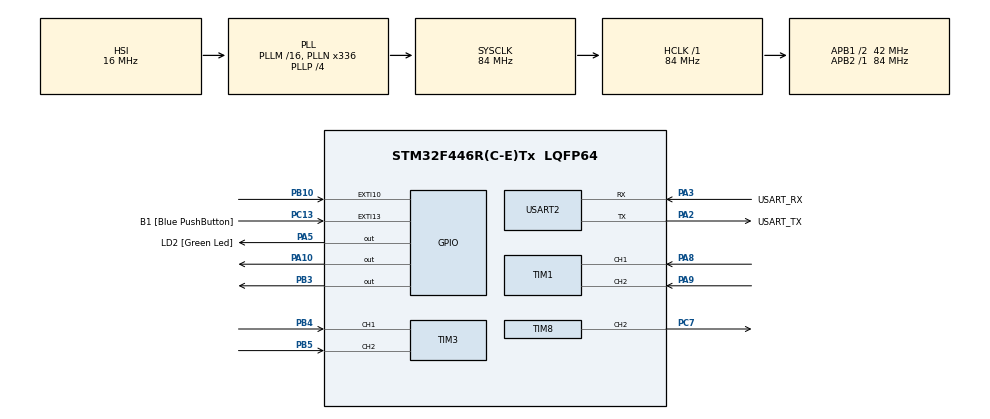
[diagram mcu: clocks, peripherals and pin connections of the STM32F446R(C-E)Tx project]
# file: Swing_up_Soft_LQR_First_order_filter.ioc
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Mcu.Family=STM32F4
Mcu.Name=STM32F446R(C-E)Tx
Mcu.Package=LQFP64
NVIC.EXTI15_10_IRQn=true\:0\:0\:false\:false\:true\:true\:true\:true
NVIC.PriorityGroup=NVIC_PRIORITYGROUP_0
NVIC.TIM1_CC_IRQn=true\:0\:0\:false\:false\:true\:true\:true\:true
PA10.Signal=GPIO_Output
PA13.GPIO_Label=TMS
PA13.Mode=Serial_Wire
PA13.Signal=SYS_JTMS-SWDIO
PA14.GPIO_Label=TCK
PA14.Mode=Serial_Wire
PA14.Signal=SYS_JTCK-SWCLK
PA2.GPIO_Label=USART_TX
PA2.Mode=Asynchronous
PA2.Signal=USART2_TX
PA3.GPIO_Label=USART_RX
PA3.Mode=Asynchronous
PA3.Signal=USART2_RX
PA5.GPIO_Label=LD2 [Green Led]
PA5.Signal=GPIO_Output
PA8.Signal=S_TIM1_CH1
PA9.Signal=S_TIM1_CH2
PB10.Signal=GPXTI10
PB3.Signal=GPIO_Output
PB4.Signal=S_TIM3_CH1
PB5.Signal=S_TIM3_CH2
PC13.GPIO_Label=B1 [Blue PushButton]
PC13.GPIO_ModeDefaultEXTI=GPIO_MODE_IT_FALLING
PC13.Signal=GPXTI13
PC14-OSC32_IN.Mode=LSE-External-Oscillator
PC14-OSC32_IN.Signal=RCC_OSC32_IN
PC15-OSC32_OUT.Mode=LSE-External-Oscillator
PC15-OSC32_OUT.Signal=RCC_OSC32_OUT
PC7.Signal=S_TIM8_CH2
PH0-OSC_IN.Mode=HSE-External-Oscillator
PH0-OSC_IN.Signal=RCC_OSC_IN
PH1-OSC_OUT.Mode=HSE-External-Oscillator
PH1-OSC_OUT.Signal=RCC_OSC_OUT
ProjectManager.HeapSize=0x200
ProjectManager.StackSize=0x400
ProjectManager.TargetToolchain=STM32CubeIDE
RCC.48MHZClocksFreq_Value=84000000
RCC.AHBFreq_Value=84000000
RCC.APB1CLKDivider=RCC_HCLK_DIV2
RCC.APB1Freq_Value=42000000
RCC.APB1TimFreq_Value=84000000
RCC.APB2Freq_Value=84000000
RCC.APB2TimFreq_Value=84000000
RCC.CortexFreq_Value=84000000
RCC.FLatency-AdvancedSettings=FLASH_LATENCY_2
RCC.HCLKFreq_Value=84000000
RCC.HSE_VALUE=8000000
RCC.HSI_VALUE=16000000
RCC.PLLN=336
RCC.PLLP=RCC_PLLP_DIV4
RCC.SYSCLKFreq_VALUE=84000000
RCC.SYSCLKSource=RCC_SYSCLKSOURCE_PLLCLK
RCC.USBFreq_Value=168000000
RCC.VCOOutputFreq_Value=336000000
SH.S_TIM1_CH1.0=TIM1_CH1,Encoder_Interface
SH.S_TIM1_CH2.0=TIM1_CH2,Encoder_Interface
SH.S_TIM3_CH1.0=TIM3_CH1,Encoder_Interface
SH.S_TIM3_CH2.0=TIM3_CH2,Encoder_Interface
SH.S_TIM8_CH2.0=TIM8_CH2,PWM Generation2 CH2
TIM1.EncoderMode=TIM_ENCODERMODE_TI12
TIM3.EncoderMode=TIM_ENCODERMODE_TI12
TIM8.Channel-PWM\ Generation2\ CH2=TIM_CHANNEL_2
TIM8.Period=4199
USART2.VirtualMode=VM_ASYNC
board=NUCLEO-F446RE

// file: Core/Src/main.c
/* USER CODE BEGIN Header */
/**
  ******************************************************************************
  * @file           : main.c
  * @brief          : Main program body
  ******************************************************************************
  */
/* USER CODE END Header */
#include "main.h"

/* USER CODE BEGIN Includes */
#include <stdio.h>
#include <string.h>
#include <math.h>
#include "furuta_controller.h"
#include "furuta_swingup.h"
/* USER CODE END Includes */

/* USER CODE BEGIN PD */
#define CONTROL_PERIOD_MS        (1U)
#define TELEMETRY_PERIOD_MS      (50U)
#define PWM_DUTY_SAFETY_CAP      (0.80f)
#define MAX_VOLTAGE              (12.0f)
/* USER CODE END PD */

TIM_HandleTypeDef htim1;
TIM_HandleTypeDef htim3;
TIM_HandleTypeDef htim8;

UART_HandleTypeDef huart2;

/* USER CODE BEGIN PV */
volatile int32_t motor_ticks_debug = 0;
volatile uint8_t live_trigger_blue_btn = 0; // 新增：用于 IDE 内部触发蓝键中断
volatile float debug_unfiltered_u = 0.0f;

FurutaController g_controller;
FurutaControllerConfig g_config;
FurutaControlOutput g_output;

SwingUpController g_swingup_controller;

uint32_t last_control_tick_ms = 0;
uint32_t last_print_tick_ms = 0;
volatile int16_t kickstart_countdown_ms = 0;
volatile uint8_t switch_flag = 0U;
volatile uint8_t lqr_stop_latched = 0U;
volatile uint16_t switch_ready_count = 0U;

// ================= LQR 增益调度 (Soft-LQR) 参数 =================
// K 矩阵:[臂角, 臂速, 摆角, 摆速] [arm_angle, arm_vel, pend_angle, pend_vel]

// 1. 内圈 (极小角度，< 2度)：极度轻柔，大幅减小 K4 消除稳态震荡
float K_inner[4] = {-0.6257f, -1.2800f, -18.2292f, -1.3866f};

// 2. 中圈 (轻微扰动，2~6度)：标准参数，兼顾稳定与抗干扰
float K_mid[4]   = {-0.5712f, -1.2615f, -18.0437f, -1.3728f};

// 3. 外圈 (大角度快倒了，> 6度)：极强参数，强力救回
float K_outer[4] = {-0.5712f, -1.2615f, -18.0437f, -1.3728f};

// 切换阈值 (单位：弧度)
#define THRESHOLD_INNER_RAD (0.070f)  // 约 4.0 度
#define THRESHOLD_OUTER_RAD (0.085f)  // 约 6.0 度

/* ====== LQR 输出低通滤波器参数 ====== */
static float lqr_u_filtered = 0.66f; // 保存上一周期的滤波输出
#define LQR_LPF_ALPHA  (0.34f)       // 滤波系数 Alpha。取值范围 0.0 ~ 1.0

/* ---------- switch 逻辑 ---------- */
#define SWITCH_ANGLE_RAD            (0.25f)
#define SWITCH_PEND_VEL_RAD_S       (5.00f)
#define SWITCH_ARM_VEL_RAD_S        (5.00f)
#define SWITCH_CONFIRM_COUNT        (10U)
/* USER CODE END PV */

void SystemClock_Config(void);
static void MX_GPIO_Init(void);
static void MX_USART2_UART_Init(void);
static void MX_TIM1_Init(void);
static void MX_TIM3_Init(void);
static void MX_TIM8_Init(void);
/* USER CODE BEGIN PFP */
static void uart_print(const char *s);
static void motor_drive_apply(int8_t direction, float pwm_duty);
static void zero_swingup_runtime(void);
static void zero_lqr_output(void);
static FurutaControlOutput lqr_compute_output(const FurutaController *controller);
/* USER CODE END PFP */

/* USER CODE BEGIN 0 */
/* 1. 串口打印函数
 * 作用：将字符串发送到电脑或其他串口终端，通常用于输出调试信息。*/
static void uart_print(const char *s)
{
  HAL_UART_Transmit(&huart2, (uint8_t *)s, strlen(s), HAL_MAX_DELAY);
}

/* * 2. 起摆控制器状态清零函数
 * 作用：将起摆（Swing-up）控制器的所有输出值强制设为 0。
 * 这在系统启动、急停或切换到 LQR 模式时调用，防止上一阶段的残留数值导致电机突然乱转。 */
static void zero_swingup_runtime(void)
{
  g_swingup_controller.output.raw_control = 0.0f;			// 清除原始控制量
  g_swingup_controller.output.saturated_control = 0.0f;		// 清除限幅后的控制量
  g_swingup_controller.output.pwm_duty = 0.0f;				// 清除 PWM 占空比（电机转速控制值）
  g_swingup_controller.output.direction = 0;				// 清除电机方向
  g_swingup_controller.logic.energy_control = 0.0f;			// 清除能量控制算法的历史数据
  g_swingup_controller.logic.torque = 0.0f;					// 清除计算出的目标扭矩
}

/* * 3. LQR 控制器输出清零函数
 * 作用：将 LQR（线性二次型调节器）的全局输出变量强制设为 0。
 * 用途与 zero_swingup_runtime 类似，用于停止平衡控制时安全切断电机动力。*/
static void zero_lqr_output(void)
{
  g_output.raw_control = 0.0f;				// 清除原始控制量
  g_output.saturated_control = 0.0f;		// 清除限幅后的控制量
  g_output.pwm_duty = 0.0f;					// 清除 PWM 占空比
  g_output.direction = 0;					// 清除电机方向
  /* ====== 新增：状态重置时清空历史滤波值 ====== */
  lqr_u_filtered = 0.0f;
}

/* * 4. LQR 控制量计算函数（部分）
 * 作用：读取当前倒立摆的状态（角度、速度），通过矩阵运算计算出电机应该输出多大的力。
 * 此段代码为该函数的“初始化与安全检查”部分。 */
static FurutaControlOutput lqr_compute_output(const FurutaController *controller)
{
  FurutaControlOutput output;				// 定义一个局部变量，用于存储即将计算出的输出结果
  float u = 0.0f;							// 定义并初始化控制律变量 u
  float arm_angle;							// 定义旋臂角度变量
  float arm_vel;							// 定义旋臂角速度变量
  float pend_angle;							// 定义摆杆角度变量
  float pend_vel;							// 定义摆杆角速度变量

  // 赋初值：默认将输出参数全部置零
  output.raw_control = 0.0f;
  output.saturated_control = 0.0f;
  output.pwm_duty = 0.0f;
  output.direction = 0;

  // 安全防线：如果控制器指针为空，或者控制器未被启用
  if (controller == NULL || controller->control_enabled == 0U)	// 直接返回全为0的输出结果，中止后续计算，确保电机不会动作
  {
    return output;
  }

  /* ================= 1. 核心控制律计算 ================= */
  /* 以手臂相对于切换瞬间的角度作为LQR调节的参考，使控制器围绕实际转移位置而非累积的连续手臂角度进行平衡。 */
  arm_angle = FurutaController_WrapAngleRad(controller->measured.arm_angle_rad - controller->arm_hold_angle_rad);
  arm_vel = controller->measured.arm_velocity_rad_s;
  pend_angle = controller->measured.pendulum_angle_rad;
  pend_vel = controller->measured.pendulum_velocity_rad_s;

  /* ================= 1. 增益调度 (Gain Scheduling) ================= */
  float *current_K;
  float abs_pend_angle = fabsf(pend_angle);

  // 根据摆杆偏离中心的角度，动态选择 K 矩阵
  if (abs_pend_angle < THRESHOLD_INNER_RAD) {
      current_K = K_inner;  // 稳态防抖
  } else if (abs_pend_angle < THRESHOLD_OUTER_RAD) {
      current_K = K_mid;    // 正常抗扰
  } else {
      current_K = K_outer;  // 极限救场
  }

  /* ================= 2. 核心控制律计算 ================= */
  /* LQR: x =[arm_angle, arm_vel, pend_angle, pend_vel] */
  u = - current_K[0] * (- arm_angle)
    - current_K[1] * (- arm_vel)
    - current_K[2] * pend_angle
    - current_K[3] * pend_vel;

  debug_unfiltered_u = u;
  /* ==========================================================
  * 新增：一阶低通滤波 (Exponential Moving Average)
  * 公式：Y_n = Alpha * X_n + (1 - Alpha) * Y_{n-1}
  * ========================================================== */
  lqr_u_filtered = LQR_LPF_ALPHA * u + (1.0f - LQR_LPF_ALPHA) * lqr_u_filtered;
  u = lqr_u_filtered; // 用滤波后的平滑电压覆盖原本的 u，向下传递

  /* ================= 2. 死区补偿 (Deadzone Compensation) ================= */
  // 匹配 MATLAB 逻辑：剔除 (-0.6, 0.6) 区间的微小输出，消除稳态震荡
  float deadband_offset = 0.5f;

  if (u > deadband_offset)
  {   // 信号在[0.6, 12] 内，保持原值
      u = u;
  }
  else if (u < -deadband_offset)
  {   // 信号在[-12, -0.6] 内，保持原值
      u = u;
  }
  else
  {   // 信号在 (-0.6, 0.6) 之间，强制抹零断电
      u = 0.0f;
  }

  /* ================= 3. 电压限幅 (Saturation / Clamping) ================= */
  if (u > MAX_VOLTAGE) u = MAX_VOLTAGE;
  if (u < -MAX_VOLTAGE) u = -MAX_VOLTAGE;

  /* ================= 4. 输出变量赋值 ================= */
  output.raw_control = u;
  output.saturated_control = u;
  output.pwm_duty = fabsf(u) / MAX_VOLTAGE;

  /* ================= 5. 确定电机转动方向 ================= */
  if (u > 0.0f)
  {output.direction = 1;
  }
  else if (u < 0.0f)
  {output.direction = -1;
  }
  else
  {output.direction = 0;
  }

  return output;
}

/* * 1. 外部中断回调函数 (EXTI Callback)
 * 作用：处理按键逻辑，实现倒立摆系统的“紧急停止”和“一键启动”。*/
void HAL_GPIO_EXTI_Callback(uint16_t GPIO_Pin)
{
    if (GPIO_Pin == GPIO_PIN_13)		//蓝色按键
    {
        /* ---------- blue button: if LQR is active, stop immediately ---------- */
    	/* ========== 逻辑 1：紧急停止 (LQR 阶段) ========== */
        if ((switch_flag == 1U) && (g_controller.control_enabled != 0U))
        {
            Disable_SwingUp(&g_swingup_controller);
            FurutaController_DisableControl(&g_controller);

            zero_swingup_runtime();
            zero_lqr_output();
            motor_drive_apply(0, 0.0f);

            switch_flag = 0U;
            switch_ready_count = 0U;
            kickstart_countdown_ms = 0;
            lqr_stop_latched = 1U;

            uart_print("LQR stopped by blue button.\r\n");
            return;
        }

        /* ========== 新增逻辑 1.5：紧急停止 (起摆阶段) ========== */
        if ((switch_flag == 0U) && (g_swingup_controller.control_enabled != 0U))
        {
            Disable_SwingUp(&g_swingup_controller);
            FurutaController_DisableControl(&g_controller);

            zero_swingup_runtime();
            zero_lqr_output();
            motor_drive_apply(0, 0.0f);

            switch_flag = 0U;
            switch_ready_count = 0U;
            kickstart_countdown_ms = 0;
            lqr_stop_latched = 1U; // 锁定状态，防止立即重启

            uart_print("Swing-up stopped by blue button.\r\n");
            return;
        }

        /* ---------- blue button: if everything is stopped, start swing-up ---------- */
        /* ========== 逻辑 2：启动起摆 (Swing-up) ========== */
        if ((g_swingup_controller.control_enabled == 0U) &&
            (g_controller.control_enabled == 0U))
        {
            uint16_t pendulum_cnt_now = (uint16_t)__HAL_TIM_GET_COUNTER(&htim3);
            uint16_t motor_counter_now = (uint16_t)__HAL_TIM_GET_COUNTER(&htim1);

            motor_drive_apply(0, 0.0f);

            FurutaController_DisableControl(&g_controller);
            SwingUp_Controller_init(&g_swingup_controller,
                                    pendulum_cnt_now,
                                    motor_counter_now);

            /* ====== 新增：同步初始化 LQR 控制器，统一零点 ====== */
            FurutaController_Init(&g_controller,
                                  &g_config,
                                  pendulum_cnt_now,
                                  motor_counter_now);

            Enable_SwingUp(&g_swingup_controller);

            zero_swingup_runtime();
            zero_lqr_output();

            lqr_stop_latched = 0U;
            switch_flag = 0U;
            switch_ready_count = 0U;
            kickstart_countdown_ms = 100;

            uart_print("Swing-up ENABLED by blue button.\r\n");
        }
    }
}

/* * 2. 电机底层驱动应用函数
 * 作用：将算法计算出的方向和 PWM 占空比，转化为 STM32 的引脚输出。
 * 参数：
 * direction: 电机转动方向 (>0 正转, <0 反转, 0 停止)
 * pwm_duty:  PWM 占空比 (0.0 到 1.0 的浮点数，代表输出功率百分比)
 */
static void motor_drive_apply(int8_t direction, float pwm_duty)
{
  uint32_t arr = __HAL_TIM_GET_AUTORELOAD(&htim8);
  uint32_t compare = 0U;

  /* ========== 1. 软件限幅保护 ========== */
  if (pwm_duty < 0.0f)
  {
    pwm_duty = 0.0f;
  }
  if (pwm_duty > PWM_DUTY_SAFETY_CAP)
  {
    pwm_duty = PWM_DUTY_SAFETY_CAP;
  }

  /* ========== 2. 占空比数值转换 ========== */
  compare = (uint32_t)(pwm_duty * (float)arr);

  /* ========== 3. 引脚方向控制 ========== */
  if (direction > 0)
  {	// 正转：PA10 输出低电平，PB3 输出高电平
    HAL_GPIO_WritePin(GPIOA, GPIO_PIN_10, GPIO_PIN_RESET);
    HAL_GPIO_WritePin(GPIOB, GPIO_PIN_3,  GPIO_PIN_SET);
  }
  else if (direction < 0)
  {	// 反转：PA10 输出高电平，PB3 输出低电平
    HAL_GPIO_WritePin(GPIOA, GPIO_PIN_10, GPIO_PIN_SET);
    HAL_GPIO_WritePin(GPIOB, GPIO_PIN_3,  GPIO_PIN_RESET);
  }
  else
  {	// 停止：两个引脚均输出低电平（电机刹车或滑行，取决于电机驱动板设计）
    HAL_GPIO_WritePin(GPIOA, GPIO_PIN_10, GPIO_PIN_RESET);
    HAL_GPIO_WritePin(GPIOB, GPIO_PIN_3,  GPIO_PIN_RESET);
    compare = 0U;
  }

  /* ========== 4. 执行 PWM 输出 ========== */
  __HAL_TIM_SET_COMPARE(&htim8, TIM_CHANNEL_2, compare);
}
/* USER CODE END 0 */

int main(void)
{
  HAL_Init();
  SystemClock_Config();

  MX_GPIO_Init();
  MX_USART2_UART_Init();
  MX_TIM1_Init();
  MX_TIM3_Init();
  MX_TIM8_Init();

  /* USER CODE BEGIN 2 */
  HAL_Delay(500);
  uart_print("Booting Swing Up + LQR controller...\r\n");

  HAL_TIM_Encoder_Start(&htim3, TIM_CHANNEL_ALL);
  HAL_TIM_Encoder_Start(&htim1, TIM_CHANNEL_ALL);
  HAL_TIM_PWM_Start(&htim8, TIM_CHANNEL_2);

  motor_drive_apply(0, 0.0f);

  zero_swingup_runtime();
  zero_lqr_output();

  /* ---------- swing-up init 起摆参数 ---------- */
  // 硬件配置参数：采样时间、编码器线数、电机减速比、控制限幅等
  g_swingup_controller.config.sample_time_s = 0.001f;
  g_swingup_controller.config.pendulum_counts_per_rev = 4096.0f;
  g_swingup_controller.config.motor_counts_per_rev = 44.0f;
  g_swingup_controller.config.motor_gear_ratio = 9.267f;
  g_swingup_controller.config.control_limit = 0.170f;
  g_swingup_controller.config.deadband = 0.0f;
  g_swingup_controller.config.kickstart_pwm_duty = 0.10f;

  // 机械物理参数：旋臂长度 (L_arm)、惯量 (I_arm)、质量 (m_1)、重力加速度 (g) 及摩擦系数等
  g_swingup_controller.mech_params.L_arm = 145e-3f;
  g_swingup_controller.mech_params.I_arm = 7.1e-4f;
  g_swingup_controller.mech_params.lcom_1 = 0.0503f;
  g_swingup_controller.mech_params.I_1 = 1.05e-4f;
  g_swingup_controller.mech_params.m_1 = 0.0542f;
  g_swingup_controller.mech_params.g = 9.81f;

  g_swingup_controller.mech_params.f_v_arm = 0.0f;
  g_swingup_controller.mech_params.f_c_arm = 0.0f;
  g_swingup_controller.mech_params.k_fc_arm = 0.0f;
  g_swingup_controller.mech_params.f_v_1 = 0.0f;
  g_swingup_controller.mech_params.f_c_1 = 0.0f;
  g_swingup_controller.mech_params.k_fc_1 = 0.0f;

  // 算法整定参数：能量控制增益 (K)、旋臂位置 PD 参数 (arm_kp, arm_kd)、低通滤波增益等
  g_swingup_controller.tuning_params.K = 0.0035f;
  g_swingup_controller.tuning_params.arm_kp = 1.00f;
  g_swingup_controller.tuning_params.arm_kd = 1.40f;
  g_swingup_controller.tuning_params.target_energy_offset = 0.03f;
  g_swingup_controller.tuning_params.tanh_smoothing_factor = 100.0f;
  g_swingup_controller.tuning_params.v_theta_1_LPF_gain = 0.90f;
  g_swingup_controller.tuning_params.v_theta_arm_LPF_gain = 0.90f;

  /* ---------- LQR measured-state init LQR 测量状态初始化 ---------- */
  g_config = FurutaController_DefaultConfig();		// 加载默认配置模板
  g_config.pendulum_counts_per_rev = 4096.0f;		// 覆盖摆杆编码器参数
  g_config.motor_counts_per_rev = 44.0f;			// 覆盖电机编码器参数
  g_config.motor_gear_ratio = 9.267f;				// 覆盖齿轮减速比
  g_config.sample_time_s = 0.001f;					// 设定 LQR 采样周期为 1ms
  g_config.control_limit = MAX_VOLTAGE;				// 设定最大输出电压限制
  g_config.deadband = 0.0f;							// 设定死区参数

  {	  // 读取上电瞬间两个编码器的原始计数值
      uint16_t motor_counter_now = (uint16_t)__HAL_TIM_GET_COUNTER(&htim1);
      uint16_t pendulum_cnt_now = (uint16_t)__HAL_TIM_GET_COUNTER(&htim3);

      motor_ticks_debug = (int32_t)motor_counter_now;
      // 使用当前的物理位置作为零点（基准点），初始化起摆控制器
      SwingUp_Controller_init(&g_swingup_controller,
                              pendulum_cnt_now,
                              motor_counter_now);
      // 使用相同的物理位置，初始化 LQR 控制器
      FurutaController_Init(&g_controller,
                            &g_config,
                            pendulum_cnt_now,
                            motor_counter_now);
  }

  last_control_tick_ms = HAL_GetTick();
  last_print_tick_ms = HAL_GetTick();

  uart_print("Controller initialized in SAFE mode. Press blue button to start swing-up.\r\n");
  /* USER CODE END 2 */

  while (1)
  {
      // 新增：IDE 触发逻辑
      if (live_trigger_blue_btn == 1)
      {
          live_trigger_blue_btn = 0;
          HAL_GPIO_EXTI_Callback(GPIO_PIN_13);
      }

	  uint32_t now_ms = HAL_GetTick();		// 获取当前系统运行的毫秒数
      /* ================= 任务调度 1：高频控制循环 =================
      * 保证控制算法以恒定的周期执行（CONTROL_PERIOD_MS，通常为 1ms）。
      * 这对数字控制系统（如 PID、LQR）至关重要，时间间隔不准会导致系统发散。*/
      if ((now_ms - last_control_tick_ms) >= CONTROL_PERIOD_MS)
      {	  // 读取电机和摆杆当前位置的原始计数值
          uint16_t motor_counter_now = (uint16_t)__HAL_TIM_GET_COUNTER(&htim1);
          uint16_t pendulum_cnt_now  = (uint16_t)__HAL_TIM_GET_COUNTER(&htim3);
          uint8_t switch_ready = 0U;

          motor_ticks_debug = (int32_t)motor_counter_now;

          /* ---------- swing-up output 起摆控制输出计算 ---------- */
          // 如果当前处于起摆模式（switch_flag == 0）且系统没有被紧急停止
          if ((switch_flag == 0U) && (lqr_stop_latched == 0U))
          {	  // 计算起摆所需的能量控制量
              g_swingup_controller.output = Compute_SwingUpOutput(&g_swingup_controller,
                                                                  pendulum_cnt_now,
                                                                  motor_counter_now);

              /* 限制旋臂的转动角度和速度，防止起摆时动作过大撞坏机械结构 */
              SwingUp_arm_angle_velocity_limit(&g_swingup_controller, 3.13f, 180.0f);
          }
          else
          {	  // 如果不在起摆模式，将起摆相关的输出变量清零，防止干扰
              zero_swingup_runtime();
          }

          /* Restore the PID-version switching flow:
           * evaluate the swing-up -> LQR handover using only the threshold-based
           * consecutive-sample check, with no swingup_success shortcut and no
           * LQR blend-in ramp after switching. */
          /* ---------- 状态更新与切换判断 ---------- */
          FurutaController_UpdateMeasuredState(&g_controller,
                                               pendulum_cnt_now,
                                               motor_counter_now);
          // 如果当前正在起摆阶段，判断是否满足切换到 LQR 倒立平衡的条件
          if ((g_swingup_controller.control_enabled != 0U) &&
              (switch_flag == 0U) &&
              (lqr_stop_latched == 0U))
          {
              float pa = g_controller.measured.pendulum_angle_rad;			// 摆杆角度
              float pv = g_controller.measured.pendulum_velocity_rad_s;		// 摆杆角速度
              float av = g_controller.measured.arm_velocity_rad_s;			// 旋臂角速度

              // 核心判断：如果摆杆接近正上方，且自身的转速足够慢，且电机旋臂也没转得太快
              if ((fabsf(pa) < SWITCH_ANGLE_RAD) &&
                  (fabsf(pv) < SWITCH_PEND_VEL_RAD_S) &&
                  (fabsf(av) < SWITCH_ARM_VEL_RAD_S))
              {
                  switch_ready = 1U;		// 满足单次条件
              }
              // 防抖机制：必须连续 N 次（SWITCH_CONFIRM_COUNT）满足条件，才确认切换。
              // 防止传感器偶尔的噪声导致误切。
              if (switch_ready != 0U)
              {
                  if (switch_ready_count < SWITCH_CONFIRM_COUNT)
                  {
                      switch_ready_count++;
                  }
              }
              else
              {
                  switch_ready_count = 0U;	// 一旦中断，计数器清零重新算
              }
              // 如果确认次数达标，执行模式切换动作
              if (switch_ready_count >= SWITCH_CONFIRM_COUNT)
              {
                  /* Clear swing-up runtime output before enabling LQR, so the
                   * handover starts from a clean zeroed transition state. */
                  Disable_SwingUp(&g_swingup_controller);
                  zero_swingup_runtime();

                  /* ====== 新增：将当前旋臂角度设定为 LQR 平衡的参考零点 ====== */
                  g_controller.arm_hold_angle_rad = g_controller.measured.arm_angle_rad;

                  FurutaController_EnableControl(&g_controller);
                  zero_lqr_output();

                  switch_flag = 1U;				// 标志位变为 1，表示正式进入 LQR 阶段
                  switch_ready_count = 0U;
                  kickstart_countdown_ms = 0;
                  lqr_stop_latched = 0U;

                  uart_print("Switched to LQR control.\r\n");
              }
          }
          else
          {
              switch_ready_count = 0U;
          }

          /* ---------- if LQR is active and loses balance, disable control ---------- */
          /* ---------- LQR 安全保护 ---------- */
          if ((switch_flag == 1U) &&
              (g_controller.control_enabled != 0U) &&
              (fabsf(g_controller.measured.pendulum_angle_rad) > 1.0f))
          {
              FurutaController_DisableControl(&g_controller);
          }

          /* Restore the PID-version handover style after switching:
           * apply full LQR output immediately, without any blend-in ramp. */
          /* ---------- LQR 输出计算 ---------- */
          if ((switch_flag == 1U) && (g_controller.control_enabled != 0U))
          {
              g_output = lqr_compute_output(&g_controller);
          }
          else
          {
              zero_lqr_output();
          }

          /* ---------- if LQR loses balance, stop and wait for next blue button ---------- */
          /* ---------- LQR 失败善后 ---------- */
          if ((switch_flag == 1U) &&
              (g_controller.control_enabled == 0U) &&
              (lqr_stop_latched == 0U))
          {
              Disable_SwingUp(&g_swingup_controller);
              FurutaController_DisableControl(&g_controller);

              zero_swingup_runtime();
              zero_lqr_output();

              switch_ready_count = 0U;
              kickstart_countdown_ms = 0;
              lqr_stop_latched = 1U;		// 锁定状态，必须按按键才能复位

              motor_drive_apply(0, 0.0f);	// 硬件断电
              uart_print("LQR failed, motor stopped. Press blue button to restart.\r\n");
          }

          /* ---------- apply motor output 输出汇总与电机驱动 ---------- */
          if (lqr_stop_latched != 0U)
          {	  // 状态 1：已锁定停机 -> 输出全 0
              motor_drive_apply(0, 0.0f);
          }
          else if ((switch_flag == 0U) && (kickstart_countdown_ms > 0))
          {	  // 状态 2：起步脉冲阶段 -> 强制电机以 30% 动力正转，持续短时间，用于打破静摩擦启动摆动
              motor_drive_apply(1, 0.30f);
              kickstart_countdown_ms--;
          }
          else if (switch_flag == 1U)
          {	  // 状态 3：LQR 平衡阶段 -> 将 LQR 算法的计算结果交给电机
              motor_drive_apply(g_output.direction, g_output.pwm_duty);
          }
          else
          {	  // 状态 4：正常起摆阶段 -> 将起摆算法的计算结果交给电机
              motor_drive_apply(g_swingup_controller.output.direction,
                                g_swingup_controller.output.pwm_duty);
          }

          last_control_tick_ms = now_ms;		// 更新控制时间戳
      }
      /* ================= 任务调度 2：低频打印循环 =================
      * 以 50ms (TELEMETRY_PERIOD_MS) 为周期向串口发送当前数据。
      * 为什么不放在 1ms 循环里？因为串口发送字符串很慢，会阻塞 CPU，导致控制周期不准。*/
      if ((now_ms - last_print_tick_ms) >= TELEMETRY_PERIOD_MS)
      {
          char msg[260];

          float pa = g_swingup_controller.measured.pendulum_angle_rad;
          float pv = g_swingup_controller.measured.pendulum_velocity_rad_s;
          float av = g_swingup_controller.measured.arm_velocity_rad_s;
          // 将是否达到切换条件的判断转化为 1 或 0
          uint8_t c1 = (fabsf(pa) < SWITCH_ANGLE_RAD) ? 1U : 0U;
          uint8_t c2 = (fabsf(pv) < SWITCH_PEND_VEL_RAD_S) ? 1U : 0U;
          uint8_t c3 = (fabsf(av) < SWITCH_ARM_VEL_RAD_S) ? 1U : 0U;
          // 格式化输出字符串，包含：状态标志、连续满足条件次数、三个物理量、条件布尔值、PWM输出等
          snprintf(msg, sizeof(msg),
                   "sw=%u rc=%u suc=%u pa=%.3f pv=%.3f av=%.3f c=%u%u%u lqr=%.2f\r\n",
                   switch_flag,
                   switch_ready_count,
                   g_swingup_controller.swingup_success,
                   pa, pv, av,
                   c1, c2, c3,
                   g_output.pwm_duty * (g_output.direction == 1 ? 1.0f :
                                        (g_output.direction == -1 ? -1.0f : 0.0f)));

          uart_print(msg);
          last_print_tick_ms = now_ms;
      }
  }
}

void SystemClock_Config(void)
{
  RCC_OscInitTypeDef RCC_OscInitStruct = {0};
  RCC_ClkInitTypeDef RCC_ClkInitStruct = {0};

  /** Configure the main internal regulator output voltage
  */
  __HAL_RCC_PWR_CLK_ENABLE();
  __HAL_PWR_VOLTAGESCALING_CONFIG(PWR_REGULATOR_VOLTAGE_SCALE3);

  /** Initializes the RCC Oscillators according to the specified parameters
  * in the RCC_OscInitTypeDef structure.
  */
  RCC_OscInitStruct.OscillatorType = RCC_OSCILLATORTYPE_HSI;
  RCC_OscInitStruct.HSIState = RCC_HSI_ON;
  RCC_OscInitStruct.HSICalibrationValue = RCC_HSICALIBRATION_DEFAULT;
  RCC_OscInitStruct.PLL.PLLState = RCC_PLL_ON;
  RCC_OscInitStruct.PLL.PLLSource = RCC_PLLSOURCE_HSI;
  RCC_OscInitStruct.PLL.PLLM = 16;
  RCC_OscInitStruct.PLL.PLLN = 336;
  RCC_OscInitStruct.PLL.PLLP = RCC_PLLP_DIV4;
  RCC_OscInitStruct.PLL.PLLQ = 2;
  RCC_OscInitStruct.PLL.PLLR = 2;
  if (HAL_RCC_OscConfig(&RCC_OscInitStruct) != HAL_OK)
  {
    Error_Handler();
  }

  /** Initializes the CPU, AHB and APB buses clocks
  */
  RCC_ClkInitStruct.ClockType = RCC_CLOCKTYPE_HCLK|RCC_CLOCKTYPE_SYSCLK
                              |RCC_CLOCKTYPE_PCLK1|RCC_CLOCKTYPE_PCLK2;
  RCC_ClkInitStruct.SYSCLKSource = RCC_SYSCLKSOURCE_PLLCLK;
  RCC_ClkInitStruct.AHBCLKDivider = RCC_SYSCLK_DIV1;
  RCC_ClkInitStruct.APB1CLKDivider = RCC_HCLK_DIV2;
  RCC_ClkInitStruct.APB2CLKDivider = RCC_HCLK_DIV1;

  if (HAL_RCC_ClockConfig(&RCC_ClkInitStruct, FLASH_LATENCY_2) != HAL_OK)
  {
    Error_Handler();
  }
}

static void MX_TIM1_Init(void)
{

  TIM_Encoder_InitTypeDef sConfig = {0};
  TIM_MasterConfigTypeDef sMasterConfig = {0};

  htim1.Instance = TIM1;
  htim1.Init.Prescaler = 0;
  htim1.Init.CounterMode = TIM_COUNTERMODE_UP;
  htim1.Init.Period = 65535;
  htim1.Init.ClockDivision = TIM_CLOCKDIVISION_DIV1;
  htim1.Init.RepetitionCounter = 0;
  htim1.Init.AutoReloadPreload = TIM_AUTORELOAD_PRELOAD_DISABLE;
  sConfig.EncoderMode = TIM_ENCODERMODE_TI12;
  sConfig.IC1Polarity = TIM_ICPOLARITY_RISING;
  sConfig.IC1Selection = TIM_ICSELECTION_DIRECTTI;
  sConfig.IC1Prescaler = TIM_ICPSC_DIV1;
  sConfig.IC1Filter = 0;
  sConfig.IC2Polarity = TIM_ICPOLARITY_RISING;
  sConfig.IC2Selection = TIM_ICSELECTION_DIRECTTI;
  sConfig.IC2Prescaler = TIM_ICPSC_DIV1;
  sConfig.IC2Filter = 0;
  if (HAL_TIM_Encoder_Init(&htim1, &sConfig) != HAL_OK)
  {
    Error_Handler();
  }
  sMasterConfig.MasterOutputTrigger = TIM_TRGO_RESET;
  sMasterConfig.MasterSlaveMode = TIM_MASTERSLAVEMODE_DISABLE;
  if (HAL_TIMEx_MasterConfigSynchronization(&htim1, &sMasterConfig) != HAL_OK)
  {
    Error_Handler();
  }

}

static void MX_TIM3_Init(void)
{

  TIM_Encoder_InitTypeDef sConfig = {0};
  TIM_MasterConfigTypeDef sMasterConfig = {0};

  htim3.Instance = TIM3;
  htim3.Init.Prescaler = 0;
  htim3.Init.CounterMode = TIM_COUNTERMODE_UP;
  htim3.Init.Period = 65535;
  htim3.Init.ClockDivision = TIM_CLOCKDIVISION_DIV1;
  htim3.Init.AutoReloadPreload = TIM_AUTORELOAD_PRELOAD_DISABLE;
  sConfig.EncoderMode = TIM_ENCODERMODE_TI12;
  sConfig.IC1Polarity = TIM_ICPOLARITY_RISING;
  sConfig.IC1Selection = TIM_ICSELECTION_DIRECTTI;
  sConfig.IC1Prescaler = TIM_ICPSC_DIV1;
  sConfig.IC1Filter = 0;
  sConfig.IC2Polarity = TIM_ICPOLARITY_RISING;
  sConfig.IC2Selection = TIM_ICSELECTION_DIRECTTI;
  sConfig.IC2Prescaler = TIM_ICPSC_DIV1;
  sConfig.IC2Filter = 0;
  if (HAL_TIM_Encoder_Init(&htim3, &sConfig) != HAL_OK)
  {
    Error_Handler();
  }
  sMasterConfig.MasterOutputTrigger = TIM_TRGO_RESET;
  sMasterConfig.MasterSlaveMode = TIM_MASTERSLAVEMODE_DISABLE;
  if (HAL_TIMEx_MasterConfigSynchronization(&htim3, &sMasterConfig) != HAL_OK)
  {
    Error_Handler();
  }

}

static void MX_TIM8_Init(void)
{

  TIM_MasterConfigTypeDef sMasterConfig = {0};
  TIM_OC_InitTypeDef sConfigOC = {0};
  TIM_BreakDeadTimeConfigTypeDef sBreakDeadTimeConfig = {0};

  htim8.Instance = TIM8;
  htim8.Init.Prescaler = 0;
  htim8.Init.CounterMode = TIM_COUNTERMODE_UP;
  htim8.Init.Period = 4199;
  htim8.Init.ClockDivision = TIM_CLOCKDIVISION_DIV1;
  htim8.Init.RepetitionCounter = 0;
  htim8.Init.AutoReloadPreload = TIM_AUTORELOAD_PRELOAD_DISABLE;
  if (HAL_TIM_PWM_Init(&htim8) != HAL_OK)
  {
    Error_Handler();
  }
  sMasterConfig.MasterOutputTrigger = TIM_TRGO_RESET;
  sMasterConfig.MasterSlaveMode = TIM_MASTERSLAVEMODE_DISABLE;
  if (HAL_TIMEx_MasterConfigSynchronization(&htim8, &sMasterConfig) != HAL_OK)
  {
    Error_Handler();
  }
  sConfigOC.OCMode = TIM_OCMODE_PWM1;
  sConfigOC.Pulse = 0;
  sConfigOC.OCPolarity = TIM_OCPOLARITY_HIGH;
  sConfigOC.OCNPolarity = TIM_OCNPOLARITY_HIGH;
  sConfigOC.OCFastMode = TIM_OCFAST_DISABLE;
  sConfigOC.OCIdleState = TIM_OCIDLESTATE_RESET;
  sConfigOC.OCNIdleState = TIM_OCNIDLESTATE_RESET;
  if (HAL_TIM_PWM_ConfigChannel(&htim8, &sConfigOC, TIM_CHANNEL_2) != HAL_OK)
  {
    Error_Handler();
  }
  sBreakDeadTimeConfig.OffStateRunMode = TIM_OSSR_DISABLE;
  sBreakDeadTimeConfig.OffStateIDLEMode = TIM_OSSI_DISABLE;
  sBreakDeadTimeConfig.LockLevel = TIM_LOCKLEVEL_OFF;
  sBreakDeadTimeConfig.DeadTime = 0;
  sBreakDeadTimeConfig.BreakState = TIM_BREAK_DISABLE;
  sBreakDeadTimeConfig.BreakPolarity = TIM_BREAKPOLARITY_HIGH;
  sBreakDeadTimeConfig.AutomaticOutput = TIM_AUTOMATICOUTPUT_DISABLE;
  if (HAL_TIMEx_ConfigBreakDeadTime(&htim8, &sBreakDeadTimeConfig) != HAL_OK)
  {
    Error_Handler();
  }
  HAL_TIM_MspPostInit(&htim8);

}

static void MX_USART2_UART_Init(void)
{

  huart2.Instance = USART2;
  huart2.Init.BaudRate = 115200;
  huart2.Init.WordLength = UART_WORDLENGTH_8B;
  huart2.Init.StopBits = UART_STOPBITS_1;
  huart2.Init.Parity = UART_PARITY_NONE;
  huart2.Init.Mode = UART_MODE_TX_RX;
  huart2.Init.HwFlowCtl = UART_HWCONTROL_NONE;
  huart2.Init.OverSampling = UART_OVERSAMPLING_16;
  if (HAL_UART_Init(&huart2) != HAL_OK)
  {
    Error_Handler();
  }

}

static void MX_GPIO_Init(void)
{
  GPIO_InitTypeDef GPIO_InitStruct = {0};

  /* GPIO Ports Clock Enable */
  __HAL_RCC_GPIOC_CLK_ENABLE();
  __HAL_RCC_GPIOH_CLK_ENABLE();
  __HAL_RCC_GPIOA_CLK_ENABLE();
  __HAL_RCC_GPIOB_CLK_ENABLE();

  /*Configure GPIO pin Output Level */
  HAL_GPIO_WritePin(GPIOA, LD2_Pin|GPIO_PIN_10, GPIO_PIN_RESET);

  /*Configure GPIO pin Output Level */
  HAL_GPIO_WritePin(GPIOB, GPIO_PIN_3, GPIO_PIN_RESET);

  /*Configure GPIO pin : B1_Pin */
  GPIO_InitStruct.Pin = B1_Pin;
  GPIO_InitStruct.Mode = GPIO_MODE_IT_FALLING;
  GPIO_InitStruct.Pull = GPIO_NOPULL;
  HAL_GPIO_Init(B1_GPIO_Port, &GPIO_InitStruct);

  /*Configure GPIO pins : LD2_Pin PA10 */
  GPIO_InitStruct.Pin = LD2_Pin|GPIO_PIN_10;
  GPIO_InitStruct.Mode = GPIO_MODE_OUTPUT_PP;
  GPIO_InitStruct.Pull = GPIO_NOPULL;
  GPIO_InitStruct.Speed = GPIO_SPEED_FREQ_LOW;
  HAL_GPIO_Init(GPIOA, &GPIO_InitStruct);

  /*Configure GPIO pin : PB10 */
  GPIO_InitStruct.Pin = GPIO_PIN_10;
  GPIO_InitStruct.Mode = GPIO_MODE_IT_RISING;
  GPIO_InitStruct.Pull = GPIO_NOPULL;
  HAL_GPIO_Init(GPIOB, &GPIO_InitStruct);

  /*Configure GPIO pin : PB3 */
  GPIO_InitStruct.Pin = GPIO_PIN_3;
  GPIO_InitStruct.Mode = GPIO_MODE_OUTPUT_PP;
  GPIO_InitStruct.Pull = GPIO_NOPULL;
  GPIO_InitStruct.Speed = GPIO_SPEED_FREQ_LOW;
  HAL_GPIO_Init(GPIOB, &GPIO_InitStruct);

  /* EXTI interrupt init*/
  HAL_NVIC_SetPriority(EXTI15_10_IRQn, 0, 0);
  HAL_NVIC_EnableIRQ(EXTI15_10_IRQn);

}

void Error_Handler(void)
{
  __disable_irq();
  while (1)
  {
  }
}
